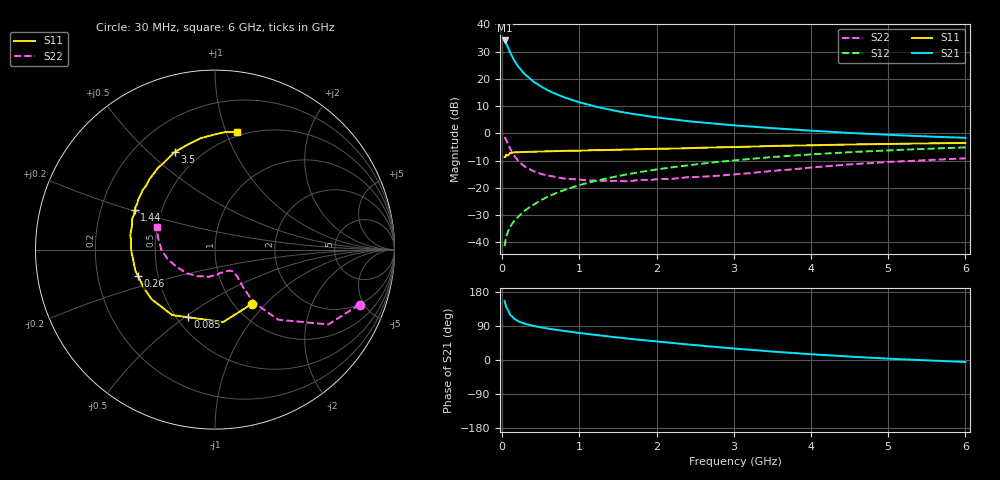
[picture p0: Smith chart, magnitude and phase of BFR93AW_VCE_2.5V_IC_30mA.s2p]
! Infineon Technologies  Discrete & RF Semiconductors
! BFR93AW
! VCE =  2.5 V,  IC =  30 mA
! Common Emitter S-Parameters:  Nov 2015
# GHz  S  MA  R  50
!  f  S11  S21  S12  S22
! GHz  MAG  ANG  MAG  ANG  MAG  ANG  MAG  ANG
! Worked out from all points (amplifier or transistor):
!   206 points, 30 MHz to 6 GHz, reference 50 ohm
!   highest |S21| = 34.1 dB at 30 MHz (marker M1)
!   |S21| within 3 dB of that: start of sweep to 80.08 MHz
!   unconditionally stable (mu >= 1): 398.9 MHz to 2.288 GHz
!   at 200 MHz: K = 0.82, MSG = 27.8 dB, |S12| = -30.8 dB
!   at 1.56 GHz: K = 1.04, MAG = 10.3 dB, |S12| = -15.3 dB
!   at 6 GHz: K = 0.93, MSG = 1.8 dB, |S12| = -5.1 dB
!   S11 on the Smith chart (normalised r, x): 30 MHz: 1.20, -0.84; 85 MHz: 0.57, -0.51; 260 MHz: 0.39, -0.14; 1.44 GHz: 0.35, +0.21; 3.5 GHz: 0.36, +0.60; 6 GHz: 0.46, +1.09
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0.03  0.3659 -55.5  50.74 155.3  0.0085 73.4  0.8619 -20.8
0.05  0.4062 -83.6  45.1 140.0  0.0126 67.1  0.7571 -33.4
0.085  0.4066 -112.1  34.56 127.4  0.0171 63.3  0.5913 -42.4
0.1  0.4358 -123.1  30.8 119.6  0.0191 62.2  0.5267 -47.9
0.15  0.4486 -142.0  22.28 109.2  0.0243 62.3  0.3943 -52.3
0.2  0.4509 -152.5  17.34 102.8  0.0288 64.3  0.3206 -53.6
0.24  0.4511 -158.6  14.72 99.4  0.0329 65.8  0.2812 -53.4
0.26  0.453 -161.1  13.63 97.8  0.0349 66.5  0.2656 -53.2
0.3  0.4587 -165.0  11.87 95.1  0.039 67.7  0.2427 -52.6
0.4  0.4591 -172.8  8.991 89.9  0.0484 69.8  0.2034 -50.7
0.5  0.4657 -178.5  7.256 85.9  0.0593 71.5  0.1796 -50.2
0.6  0.469 177.8  6.076 82.6  0.0694 72.1  0.1669 -49.6
0.7  0.4706 173.6  5.24 79.4  0.0804 72.1  0.1576 -50.5
0.84  0.4786 169.2  4.4 75.5  0.095 71.9  0.1471 -53.2
1.04  0.4831 163.2  3.581 70.3  0.1166 71.2  0.1397 -57.5
1.44  0.4992 153.5  2.639 60.8  0.1584 68.6  0.134 -71.2
2.02  0.5219 140.3  1.947 48.3  0.2192 63.6  0.1443 -92.0
3.1  0.5644 119.4  1.371 28.8  0.3285 52.9  0.1808 -126.5
3.5  0.5879 112.5  1.247 22.2  0.3682 48.7  0.2048 -139.9
4.1  0.6079 103.0  1.099 14.0  0.4195 41.9  0.2419 -159.3
5.1  0.6424 89.8  0.929 2.6  0.4943 30.9  0.3029 177.6
6  0.6668 79.6  0.829 -5.3  0.5533 21.7  0.348 158.7
